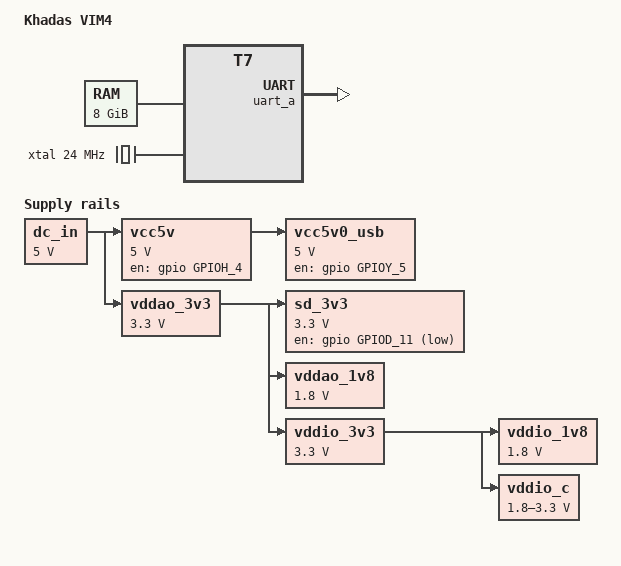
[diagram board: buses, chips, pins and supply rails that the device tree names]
// SPDX-License-Identifier: (GPL-2.0+ OR MIT)
/*
 * Copyright (c) 2022 Wesion, Inc. All rights reserved.
 */

/dts-v1/;

#include "amlogic-t7.dtsi"
#include <dt-bindings/gpio/amlogic,t7-periphs-pinctrl.h>
#include <dt-bindings/gpio/gpio.h>

/ {
	model = "Khadas VIM4";
	compatible = "khadas,vim4", "amlogic,a311d2", "amlogic,t7";

	aliases {
		serial0 = &uart_a;
	};

	memory@0 {
		device_type = "memory";
		reg = <0x0 0x0 0x0 0xE0000000
			0x1 0x0 0x0 0xE0000000
			0x2 0x0 0x0 0x40000000>; /* 8 GB */
	};

	reserved-memory {
		#address-cells = <2>;
		#size-cells = <2>;
		ranges;

		/* 3 MiB reserved for ARM Trusted Firmware (BL31) */
		secmon_reserved: secmon@5000000 {
			reg = <0x0 0x05000000 0x0 0x300000>;
			no-map;
		};

		/* 32 MiB reserved for ARM Trusted Firmware (BL32) */
		secmon_reserved_bl32: secmon@5300000 {
			reg = <0x0 0x05300000 0x0 0x2000000>;
			no-map;
		};
	};

	xtal: xtal-clk {
		compatible = "fixed-clock";
		clock-frequency = <24000000>;
		clock-output-names = "xtal";
		#clock-cells = <0>;
	};

	dc_in: regulator-dc-in {
		compatible = "regulator-fixed";
		regulator-name = "DC_IN";
		regulator-min-microvolt = <5000000>;
		regulator-max-microvolt = <5000000>;
		regulator-always-on;
	};

	sd_3v3: regulator-sdcard-3v3 {
		compatible = "regulator-fixed";
		regulator-name = "SD_3V3";
		regulator-min-microvolt = <3300000>;
		regulator-max-microvolt = <3300000>;
		vin-supply = <&vddao_3v3>;
		gpio = <&gpio GPIOD_11 GPIO_ACTIVE_LOW>;
		regulator-boot-on;
		enable-active-low;
		regulator-always-on;
	};

	vcc5v: regulator-vcc-5v {
		compatible = "regulator-fixed";
		regulator-name = "VCC5V";
		regulator-min-microvolt = <5000000>;
		regulator-max-microvolt = <5000000>;
		vin-supply = <&dc_in>;

		gpio = <&gpio GPIOH_4 GPIO_ACTIVE_HIGH>;
		enable-active-high;
	};

	vcc5v0_usb: regulator-vcc-usb {
		compatible = "regulator-fixed";
		regulator-name = "VCC5V0_USB";
		regulator-min-microvolt = <5000000>;
		regulator-max-microvolt = <5000000>;
		vin-supply = <&vcc5v>;

		gpio = <&gpio GPIOY_5 GPIO_ACTIVE_HIGH>;
		enable-active-high;
	};

	vddao_1v8: regulator-vddao-1v8 {
		compatible = "regulator-fixed";
		regulator-name = "VDDAO_1V8";
		regulator-min-microvolt = <1800000>;
		regulator-max-microvolt = <1800000>;
		vin-supply = <&vddao_3v3>;
		regulator-always-on;
	};

	vddao_3v3: regulator-vddao-3v3 {
		compatible = "regulator-fixed";
		regulator-name = "VDDAO_3V3";
		regulator-min-microvolt = <3300000>;
		regulator-max-microvolt = <3300000>;
		vin-supply = <&dc_in>;
		regulator-always-on;
	};

	vddio_1v8: regulator-vddio-1v8 {
		compatible = "regulator-fixed";
		regulator-name = "VDDIO_1V8";
		regulator-min-microvolt = <1800000>;
		regulator-max-microvolt = <1800000>;
		vin-supply = <&vddio_3v3>;
		regulator-always-on;
	};

	vddio_3v3: regulator-vddio-3v3 {
		compatible = "regulator-fixed";
		regulator-name = "VDDIO_3V3";
		regulator-min-microvolt = <3300000>;
		regulator-max-microvolt = <3300000>;
		vin-supply = <&vddao_3v3>;
		regulator-always-on;
	};

	vddio_c: regulator-gpio-c {
		compatible = "regulator-gpio";
		regulator-name = "VDDIO_C";
		regulator-min-microvolt = <1800000>;
		regulator-max-microvolt = <3300000>;
		vin-supply = <&vddio_3v3>;
		gpios = <&gpio GPIOD_9 GPIO_ACTIVE_HIGH>;
		states = <1800000 1
			  3300000 0>;
	};
};

&uart_a {
	status = "okay";
	clocks = <&xtal>, <&xtal>, <&xtal>;
	clock-names = "xtal", "pclk", "baud";
};
